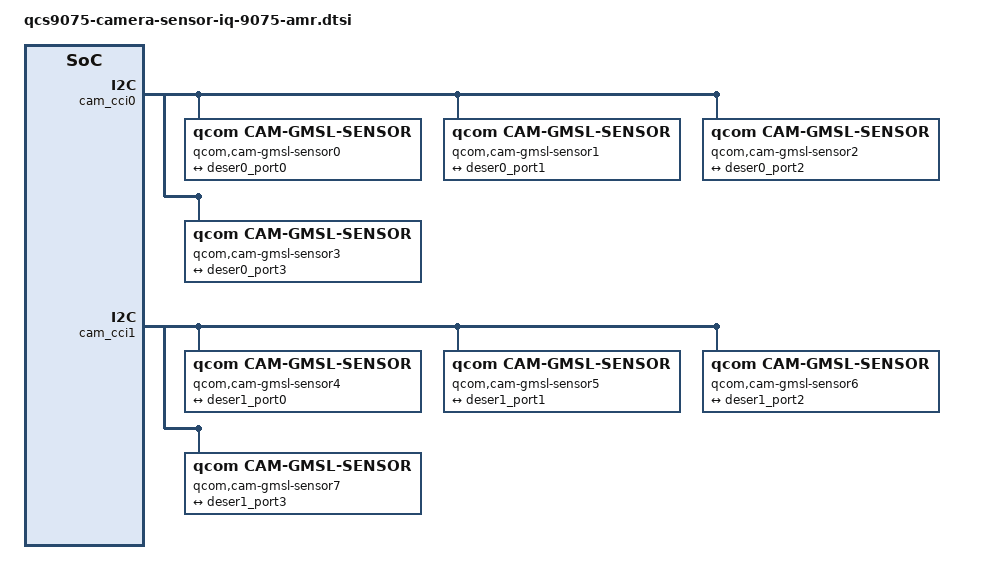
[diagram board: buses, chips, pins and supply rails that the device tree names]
// SPDX-License-Identifier: BSD-3-Clause
/*
 * Copyright (c) Qualcomm Technologies, Inc. and/or its subsidiaries.
 */
#include <dt-bindings/msm-camera.h>

&soc {
	qcom,cam-res-mgr {
		compatible = "qcom,cam-res-mgr";
		status = "ok";
		gpios-shared = <518 519 520 521>;
	};
};

&cam_cci0 {

	/* GMSL deserializer 0 */
	qcom,cam-gmsl-deserializer0 {
		cell-index = <0>;
		csiphy-sd-index = <0>;
		sensor-position-roll = <0>;
		sensor-position-pitch = <0>;
		sensor-position-yaw = <180>;
		cam_vio-supply = <&vreg_s4a>;
		regulator-names = "cam_vio";
		power-domains = <&camcc CAM_CC_TITAN_TOP_GDSC>;
		rgltr-cntrl-support;
		pwm-switch;
		rgltr-min-voltage = <1800000>;
		rgltr-max-voltage = <1800000>;
		rgltr-load-current = <120000>;
		gpio-no-mux = <0>;
		pinctrl-names = "cam_default", "cam_suspend";
		pinctrl-0 = <&cam_sensor_mclk0_active>;
		pinctrl-1 = <&cam_sensor_mclk0_suspend>;
		gpios = <&pmm8654au_0_gpios 7 0>;
		gpio-reset = <0>;
		gpio-req-tbl-num = <0>;
		gpio-req-tbl-flags = <0>;
		gpio-req-tbl-label = "CAM_RESET0";
		cci-master = <0>;
		clocks = <&camcc CAM_CC_MCLK0_CLK>;
		clock-names = "cam_clk";
		clock-cntl-level = "nominal";
		clock-rates = <24000000>;
		status = "ok";

		port@0 {
			reg = <0>;
			deser0_port0: endpoint {
				remote-endpoint = <&gmsl_sensor0_ep>;
			};
		};

		port@1 {
			reg = <1>;
			deser0_port1: endpoint {
				remote-endpoint = <&gmsl_sensor1_ep>;
			};
		};

		port@2 {
			reg = <0>;
			deser0_port2: endpoint {
				remote-endpoint = <&gmsl_sensor2_ep>;
			};
		};

		port@3 {
			reg = <1>;
			deser0_port3: endpoint {
				remote-endpoint = <&gmsl_sensor3_ep>;
			};
		};
	};

	/* GMSL deserializer 0 sensor 0 */
	qcom,cam-gmsl-sensor0 {
		cell-index = <0>;
		compatible = "qcom,cam-gmsl-sensor";
		csiphy-sd-index = <0>;
		status = "ok";
		port {
			gmsl_sensor0_ep: endpoint {
				remote-endpoint = <&deser0_port0>;
			};
		};
	};

	/* GMSL deserializer 0 sensor 1 */
	qcom,cam-gmsl-sensor1 {
		cell-index = <1>;
		compatible = "qcom,cam-gmsl-sensor";
		csiphy-sd-index = <0>;
		status = "ok";
		port {
			gmsl_sensor1_ep: endpoint {
				remote-endpoint = <&deser0_port1>;
			};
		};
	};

	/* GMSL deserializer 0 sensor 2 */
	qcom,cam-gmsl-sensor2 {
		cell-index = <2>;
		compatible = "qcom,cam-gmsl-sensor";
		csiphy-sd-index = <0>;
		status = "ok";
		port {
			gmsl_sensor2_ep: endpoint {
				remote-endpoint = <&deser0_port2>;
			};
		};
	};

	/* GMSL deserializer 0 sensor 3 */
	qcom,cam-gmsl-sensor3 {
		cell-index = <3>;
		compatible = "qcom,cam-gmsl-sensor";
		csiphy-sd-index = <0>;
		status = "ok";
		port {
			gmsl_sensor3_ep: endpoint {
				remote-endpoint = <&deser0_port3>;
			};
		};
	};
};

&cam_cci1 {

	/* GMSL deserializer 1 */
	qcom,cam-gmsl-deserializer1 {
		cell-index = <1>;
		csiphy-sd-index = <2>;
		sensor-position-roll = <0>;
		sensor-position-pitch = <0>;
		sensor-position-yaw = <180>;
		cam_vio-supply = <&vreg_s4a>;
		regulator-names = "cam_vio";
		power-domains = <&camcc CAM_CC_TITAN_TOP_GDSC>;
		rgltr-cntrl-support;
		pwm-switch;
		rgltr-min-voltage = <1800000>;
		rgltr-max-voltage = <1800000>;
		rgltr-load-current = <120000>;
		gpio-no-mux = <0>;
		pinctrl-names = "cam_default", "cam_suspend";
		pinctrl-0 = <&cam_sensor_mclk1_active>;
		pinctrl-1 = <&cam_sensor_mclk1_suspend>;
		gpios = <&pmm8654au_0_gpios 8 0>;
		gpio-reset = <0>;
		gpio-req-tbl-num = <0>;
		gpio-req-tbl-flags = <0>;
		gpio-req-tbl-label = "CAM_RESET1";
		cci-master = <0>;
		clocks = <&camcc CAM_CC_MCLK1_CLK>;
		clock-names = "cam_clk";
		clock-cntl-level = "nominal";
		clock-rates = <24000000>;
		status = "ok";

		port@0 {
			reg = <0>;
			deser1_port0: endpoint {
				remote-endpoint = <&gmsl_sensor4_ep>;
			};
		};

		port@1 {
			reg = <1>;
			deser1_port1: endpoint {
				remote-endpoint = <&gmsl_sensor5_ep>;
			};
		};

		port@2 {
			reg = <0>;
			deser1_port2: endpoint {
				remote-endpoint = <&gmsl_sensor6_ep>;
			};
		};

		port@3 {
			reg = <1>;
			deser1_port3: endpoint {
				remote-endpoint = <&gmsl_sensor7_ep>;
			};
		};
	};

	/* GMSL deserializer 1 sensor 0 */
	qcom,cam-gmsl-sensor4 {
		cell-index = <4>;
		compatible = "qcom,cam-gmsl-sensor";
		csiphy-sd-index = <2>;
		status = "ok";
		port {
			gmsl_sensor4_ep: endpoint {
				remote-endpoint = <&deser1_port0>;
			};
		};
	};

	/* GMSL deserializer 1 sensor 1 */
	qcom,cam-gmsl-sensor5 {
		cell-index = <5>;
		compatible = "qcom,cam-gmsl-sensor";
		csiphy-sd-index = <2>;
		status = "ok";
		port {
			gmsl_sensor5_ep: endpoint {
				remote-endpoint = <&deser1_port1>;
			};
		};
	};

	/* GMSL deserializer 1 sensor 2 */
	qcom,cam-gmsl-sensor6 {
		cell-index = <6>;
		compatible = "qcom,cam-gmsl-sensor";
		csiphy-sd-index = <2>;
		status = "ok";
		port {
			gmsl_sensor6_ep: endpoint {
				remote-endpoint = <&deser1_port2>;
			};
		};
	};

	/* GMSL deserializer 1 sensor 3 */
	qcom,cam-gmsl-sensor7 {
		cell-index = <7>;
		compatible = "qcom,cam-gmsl-sensor";
		csiphy-sd-index = <2>;
		status = "ok";
		port {
			gmsl_sensor7_ep: endpoint {
				remote-endpoint = <&deser1_port3>;
			};
		};
	};
};
